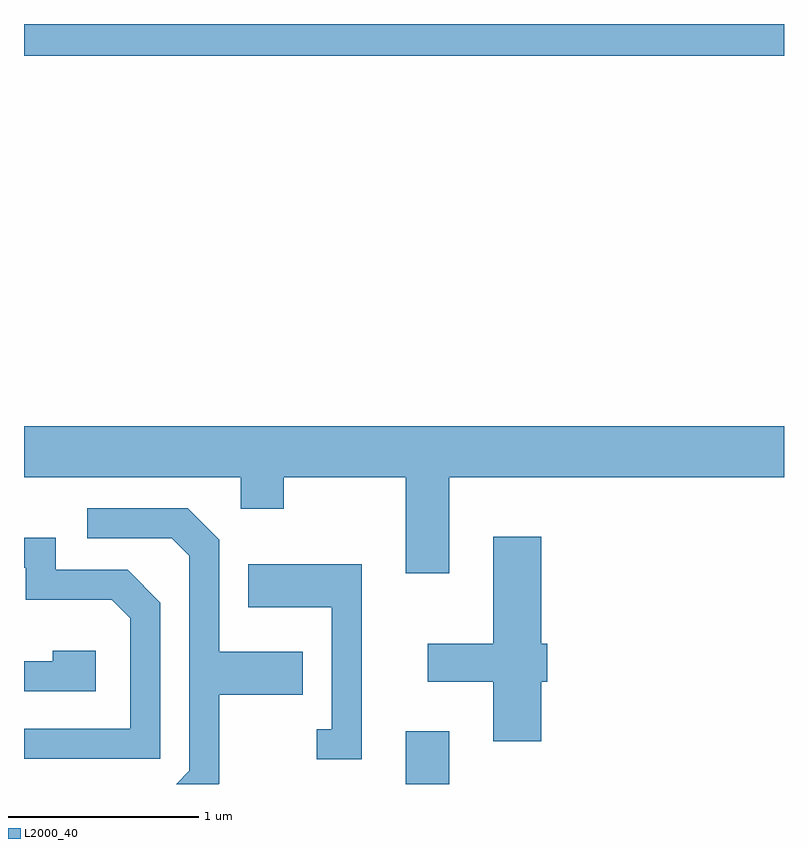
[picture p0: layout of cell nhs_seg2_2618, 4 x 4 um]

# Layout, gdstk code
import gdstk
lib = gdstk.Library(unit=1e-6, precision=1e-09)
def R(c, l, rs):  # rectangles x0, y0, x1, y1
    for r in rs: c.add(gdstk.rectangle(r[:2], r[2:], *l))
def P(c, l, *ps):  # polygons
    for p in ps: c.add(gdstk.Polygon(p, *l))
L2000_40 = (2000, 40)

nhs_seg2_2618 = lib.new_cell('nhs_seg2_2618')
R(nhs_seg2_2618, L2000_40, [(263.621,1057.802,263.849,1058.079), (261.611,1061.636,265.611,1061.802)])
P(nhs_seg2_2618, L2000_40, [(263.849,1059.416),(265.611,1059.416),(265.611,1059.684),(261.611,1059.684),(261.611,1059.416),(262.751,1059.416),(262.751,1059.251),(262.979,1059.251),(262.979,1059.416),(263.621,1059.416),(263.621,1058.911),(263.849,1058.911)],
  [(262.639,1057.804),(262.639,1058.271),(263.079,1058.271),(263.079,1058.499),(262.639,1058.499),(262.639,1059.087),(262.472,1059.254),(261.943,1059.254),(261.943,1059.096),(262.389,1059.096),(262.481,1059.004),(262.481,1057.872),(262.412,1057.802),(262.637,1057.802)],
  [(264.334,1058.341),(264.364,1058.341),(264.364,1058.539),(264.334,1058.539),(264.334,1059.104),(264.081,1059.104),(264.081,1058.539),(263.736,1058.539),(263.736,1058.341),(264.081,1058.341),(264.081,1058.026),(264.334,1058.026)],
  [(262.329,1058.757),(262.157,1058.929),(261.779,1058.929),(261.779,1059.099),(261.611,1059.099),(261.611,1058.941),(261.621,1058.941),(261.621,1058.771),(262.074,1058.771),(262.171,1058.674),(262.171,1058.094),(261.611,1058.094),(261.611,1057.936),(262.329,1057.936)],
  [(263.389,1058.959),(262.791,1058.959),(262.791,1058.731),(263.231,1058.731),(263.231,1058.089),(263.153,1058.089),(263.153,1057.931),(263.389,1057.931)],
  [(261.989,1058.504),(261.761,1058.504),(261.761,1058.449),(261.611,1058.449),(261.611,1058.291),(261.989,1058.291)])

lib.write_gds('nhs_seg2_2618.gds')
